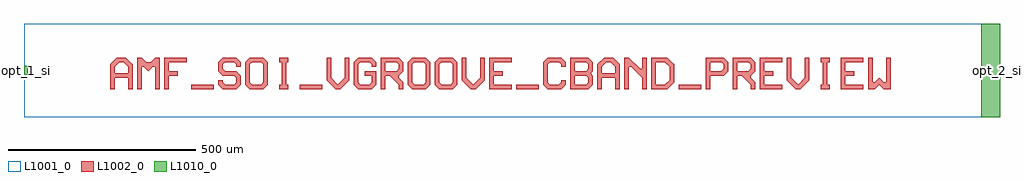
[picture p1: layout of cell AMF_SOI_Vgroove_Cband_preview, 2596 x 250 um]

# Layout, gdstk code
import gdstk
lib = gdstk.Library(unit=1e-6, precision=1e-09)
def R(c, l, rs):  # rectangles x0, y0, x1, y1
    for r in rs: c.add(gdstk.rectangle(r[:2], r[2:], *l))
def P(c, l, *ps):  # polygons
    for p in ps: c.add(gdstk.Polygon(p, *l))
L1001_0 = (1001, 0)
L1002_0 = (1002, 0)
L1010_0 = (1010, 0)

amf_soi_vgroove_cband_pr = lib.new_cell('AMF_SOI_Vgroove_Cband_preview')
R(amf_soi_vgroove_cband_pr, L1001_0, [(0,-125,2596,125)])
R(amf_soi_vgroove_cband_pr, L1002_0, [(444.93,-49.499,504.93,-37.499), (732.93,-49.499,792.93,-37.499), (1308.93,-49.499,1368.93,-37.499), (1740.93,-49.499,1800.93,-37.499)])
P(amf_soi_vgroove_cband_pr, L1002_0, [(228.93,-49.499),(228.93,16.501),(246.93,34.501),(270.93,34.501),(282.93,22.501),(252.93,22.501),(240.93,10.501),(240.93,-7.499),(276.93,-7.499),(276.93,10.501),(264.93,22.501),(282.93,22.501),(288.93,16.501),(288.93,-49.499),(276.93,-49.499),(276.93,-19.499),(240.93,-19.499),(240.93,-49.499)],
  [(300.93,-49.499),(300.93,34.501),(312.93,34.501),(324.93,22.501),(336.93,22.501),(348.93,34.501),(360.93,34.501),(360.93,-49.499),(348.93,-49.499),(348.93,10.501),(342.93,10.501),(330.93,-1.499),(318.93,10.501),(312.93,10.501),(312.93,-49.499)],
  [(372.93,-49.499),(372.93,34.501),(432.93,34.501),(432.93,22.501),(384.93,22.501),(384.93,-1.499),(408.93,-1.499),(408.93,-13.499),(384.93,-13.499),(384.93,-49.499)],
  [(528.93,-49.499),(516.93,-37.499),(516.93,-25.499),(528.93,-25.499),(528.93,-31.499),(534.93,-37.499),(558.93,-37.499),(564.93,-31.499),(564.93,-19.499),(558.93,-13.499),(528.93,-13.499),(516.93,-1.499),(516.93,22.501),(528.93,34.501),(564.93,34.501),(576.93,22.501),(576.93,10.501),(564.93,10.501),(564.93,16.501),(558.93,22.501),(534.93,22.501),(528.93,16.501),(528.93,4.501),(534.93,-1.499),(564.93,-1.499),(576.93,-13.499),(576.93,-37.499),(564.93,-49.499)],
  [(600.93,-49.499),(588.93,-37.499),(588.93,22.501),(600.93,34.501),(636.93,34.501),(648.93,22.501),(648.93,-7.499),(636.93,-7.499),(636.93,16.501),(630.93,22.501),(606.93,22.501),(600.93,16.501),(600.93,-31.499),(606.93,-37.499),(630.93,-37.499),(636.93,-31.499),(636.93,-7.499),(648.93,-7.499),(648.93,-37.499),(636.93,-49.499)],
  [(678.93,-49.499),(678.93,-37.499),(684.93,-37.499),(684.93,22.501),(678.93,22.501),(678.93,34.501),(702.93,34.501),(702.93,22.501),(696.93,22.501),(696.93,-37.499),(702.93,-37.499),(702.93,-49.499)],
  [(828.93,-49.499),(804.93,-25.499),(804.93,34.501),(816.93,34.501),(816.93,-19.499),(834.93,-37.499),(852.93,-19.499),(852.93,34.501),(864.93,34.501),(864.93,-25.499),(840.93,-49.499)],
  [(888.93,-49.499),(876.93,-37.499),(876.93,22.501),(888.93,34.501),(924.93,34.501),(936.93,22.501),(936.93,10.501),(924.93,10.501),(924.93,16.501),(918.93,22.501),(894.93,22.501),(888.93,16.501),(888.93,-31.499),(894.93,-37.499),(918.93,-37.499),(924.93,-31.499),(924.93,-13.499),(906.93,-13.499),(906.93,-1.499),(936.93,-1.499),(936.93,-37.499),(924.93,-49.499)],
  [(948.93,-49.499),(948.93,34.501),(996.93,34.501),(1008.93,22.501),(960.93,22.501),(960.93,-1.499),(990.93,-1.499),(996.93,4.501),(996.93,16.501),(990.93,22.501),(1008.93,22.501),(1008.93,-1.499),(996.93,-13.499),(996.93,-19.499),(1008.93,-31.499),(1008.93,-49.499),(996.93,-49.499),(996.93,-37.499),(972.93,-13.499),(960.93,-13.499),(960.93,-49.499)],
  [(1032.93,-49.499),(1020.93,-37.499),(1020.93,22.501),(1032.93,34.501),(1068.93,34.501),(1080.93,22.501),(1080.93,-7.499),(1068.93,-7.499),(1068.93,16.501),(1062.93,22.501),(1038.93,22.501),(1032.93,16.501),(1032.93,-31.499),(1038.93,-37.499),(1062.93,-37.499),(1068.93,-31.499),(1068.93,-7.499),(1080.93,-7.499),(1080.93,-37.499),(1068.93,-49.499)],
  [(1104.93,-49.499),(1092.93,-37.499),(1092.93,22.501),(1104.93,34.501),(1140.93,34.501),(1152.93,22.501),(1152.93,-7.499),(1140.93,-7.499),(1140.93,16.501),(1134.93,22.501),(1110.93,22.501),(1104.93,16.501),(1104.93,-31.499),(1110.93,-37.499),(1134.93,-37.499),(1140.93,-31.499),(1140.93,-7.499),(1152.93,-7.499),(1152.93,-37.499),(1140.93,-49.499)],
  [(1188.93,-49.499),(1164.93,-25.499),(1164.93,34.501),(1176.93,34.501),(1176.93,-19.499),(1194.93,-37.499),(1212.93,-19.499),(1212.93,34.501),(1224.93,34.501),(1224.93,-25.499),(1200.93,-49.499)],
  [(1236.93,-49.499),(1236.93,34.501),(1296.93,34.501),(1296.93,22.501),(1248.93,22.501),(1248.93,-1.499),(1272.93,-1.499),(1272.93,-13.499),(1248.93,-13.499),(1248.93,-37.499),(1296.93,-37.499),(1296.93,-49.499)],
  [(1392.93,-49.499),(1380.93,-37.499),(1380.93,22.501),(1392.93,34.501),(1428.93,34.501),(1440.93,22.501),(1440.93,10.501),(1428.93,10.501),(1428.93,16.501),(1422.93,22.501),(1398.93,22.501),(1392.93,16.501),(1392.93,-31.499),(1398.93,-37.499),(1422.93,-37.499),(1428.93,-31.499),(1428.93,-25.499),(1440.93,-25.499),(1440.93,-37.499),(1428.93,-49.499)],
  [(1452.93,-49.499),(1452.93,34.501),(1500.93,34.501),(1512.93,22.501),(1464.93,22.501),(1464.93,-1.499),(1494.93,-1.499),(1500.93,4.501),(1500.93,16.501),(1494.93,22.501),(1512.93,22.501),(1512.93,-1.499),(1506.93,-7.499),(1512.93,-13.499),(1464.93,-13.499),(1464.93,-37.499),(1494.93,-37.499),(1500.93,-31.499),(1500.93,-19.499),(1494.93,-13.499),(1512.93,-13.499),(1512.93,-37.499),(1500.93,-49.499)],
  [(1524.93,-49.499),(1524.93,16.501),(1542.93,34.501),(1566.93,34.501),(1578.93,22.501),(1548.93,22.501),(1536.93,10.501),(1536.93,-7.499),(1572.93,-7.499),(1572.93,10.501),(1560.93,22.501),(1578.93,22.501),(1584.93,16.501),(1584.93,-49.499),(1572.93,-49.499),(1572.93,-19.499),(1536.93,-19.499),(1536.93,-49.499)],
  [(1596.93,-49.499),(1596.93,34.501),(1608.93,34.501),(1638.93,4.501),(1644.93,4.501),(1644.93,34.501),(1656.93,34.501),(1656.93,-49.499),(1644.93,-49.499),(1644.93,-19.499),(1614.93,10.501),(1608.93,10.501),(1608.93,-49.499)],
  [(1668.93,-49.499),(1668.93,34.501),(1710.93,34.501),(1722.93,22.501),(1680.93,22.501),(1680.93,-37.499),(1704.93,-37.499),(1716.93,-25.499),(1716.93,10.501),(1704.93,22.501),(1722.93,22.501),(1728.93,16.501),(1728.93,-31.499),(1710.93,-49.499)],
  [(1812.93,-49.499),(1812.93,34.501),(1860.93,34.501),(1872.93,22.501),(1872.93,-1.499),(1860.93,-13.499),(1824.93,-13.499),(1824.93,-1.499),(1854.93,-1.499),(1860.93,4.501),(1860.93,16.501),(1854.93,22.501),(1824.93,22.501),(1824.93,-49.499)],
  [(1884.93,-49.499),(1884.93,34.501),(1932.93,34.501),(1944.93,22.501),(1896.93,22.501),(1896.93,-1.499),(1926.93,-1.499),(1932.93,4.501),(1932.93,16.501),(1926.93,22.501),(1944.93,22.501),(1944.93,-1.499),(1932.93,-13.499),(1932.93,-19.499),(1944.93,-31.499),(1944.93,-49.499),(1932.93,-49.499),(1932.93,-37.499),(1908.93,-13.499),(1896.93,-13.499),(1896.93,-49.499)],
  [(1956.93,-49.499),(1956.93,34.501),(2016.93,34.501),(2016.93,22.501),(1968.93,22.501),(1968.93,-1.499),(1992.93,-1.499),(1992.93,-13.499),(1968.93,-13.499),(1968.93,-37.499),(2016.93,-37.499),(2016.93,-49.499)],
  [(2052.93,-49.499),(2028.93,-25.499),(2028.93,34.501),(2040.93,34.501),(2040.93,-19.499),(2058.93,-37.499),(2076.93,-19.499),(2076.93,34.501),(2088.93,34.501),(2088.93,-25.499),(2064.93,-49.499)],
  [(2118.93,-49.499),(2118.93,-37.499),(2124.93,-37.499),(2124.93,22.501),(2118.93,22.501),(2118.93,34.501),(2142.93,34.501),(2142.93,22.501),(2136.93,22.501),(2136.93,-37.499),(2142.93,-37.499),(2142.93,-49.499)],
  [(2172.93,-49.499),(2172.93,34.501),(2232.93,34.501),(2232.93,22.501),(2184.93,22.501),(2184.93,-1.499),(2208.93,-1.499),(2208.93,-13.499),(2184.93,-13.499),(2184.93,-37.499),(2232.93,-37.499),(2232.93,-49.499)],
  [(2244.93,-49.499),(2244.93,34.501),(2256.93,34.501),(2256.93,-31.499),(2262.93,-31.499),(2274.93,-19.499),(2286.93,-31.499),(2292.93,-31.499),(2292.93,34.501),(2304.93,34.501),(2304.93,-49.499),(2286.93,-49.499),(2274.93,-37.499),(2262.93,-49.499)])
R(amf_soi_vgroove_cband_pr, L1010_0, [(2546,-125,2596,125), (0,-12,10,12)])
amf_soi_vgroove_cband_pr.add(gdstk.Label('opt_2_si', (2596,0), layer=1010, texttype=0))
amf_soi_vgroove_cband_pr.add(gdstk.Label('opt_1_si', (0,0), layer=1010, texttype=0))

lib.write_gds('AMF_SOI_Vgroove_Cband_preview.gds')
